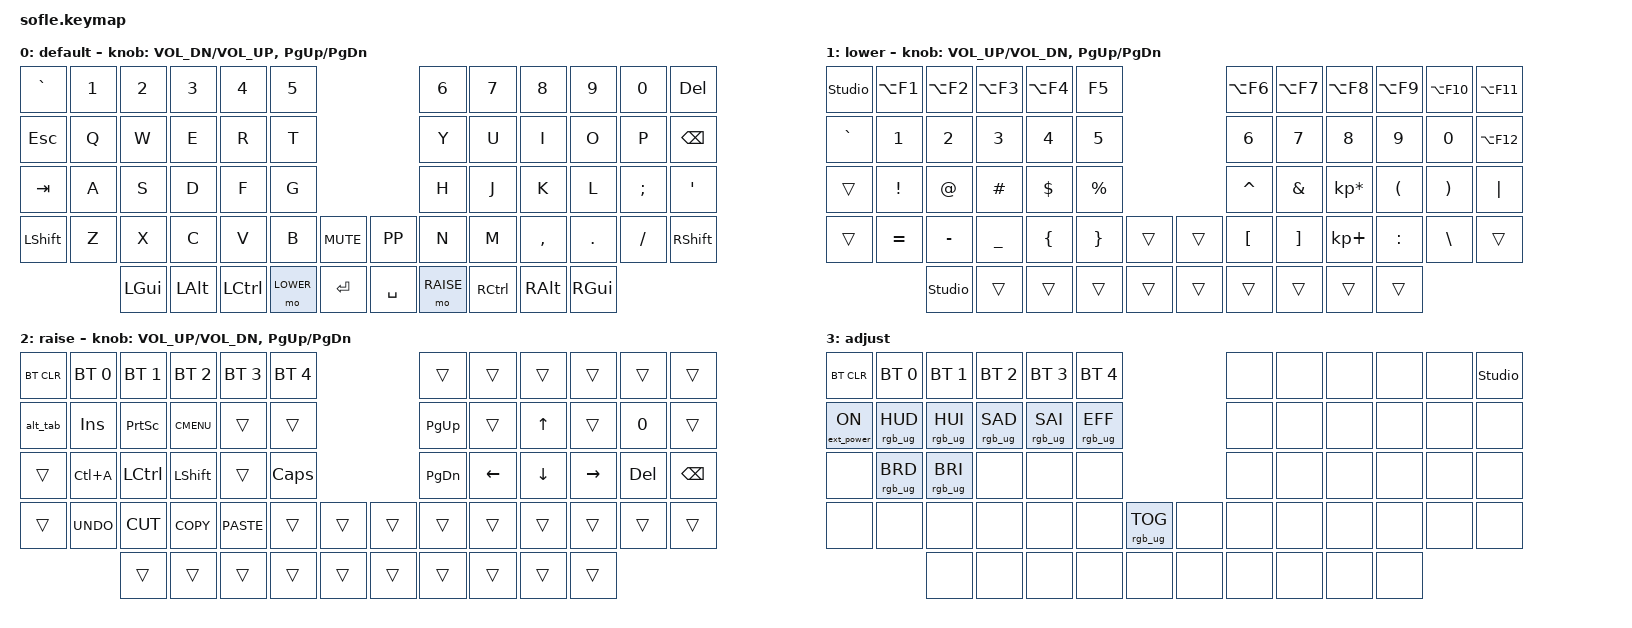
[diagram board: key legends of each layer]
/*
 * Copyright (c) 2020 The ZMK Contributors
 *
 * SPDX-License-Identifier: MIT
 */

#include <behaviors.dtsi>
#include <dt-bindings/zmk/bt.h>
#include <dt-bindings/zmk/ext_power.h>
#include <dt-bindings/zmk/keys.h>
#include <dt-bindings/zmk/rgb.h>

#define BASE 0
#define LOWER 1
#define RAISE 2
#define ADJUST 3

/ {
    // Activate ADJUST layer by pressing raise and lower

    conditional_layers {
        compatible = "zmk,conditional-layers";

        adjust_layer {
            if-layers = <LOWER RAISE>;
            then-layer = <ADJUST>;
        };
    };

    macros {
        alt_tab: alt_tab {
            compatible = "zmk,behavior-macro";
            #binding-cells = <0>;
            wait-ms = <40>;
            tap-ms = <40>;
            bindings = <&macro_press &kp LALT>, <&macro_tap &kp TAB>, <&macro_pause_for_release>, <&macro_release &kp LALT>;
        };
    };

    keymap {
        compatible = "zmk,keymap";

        default_layer {
            label = "default";

            // ------------------------------------------------------------------------------------------------------------
            // |   `   |  1  |  2  |  3   |  4   |  5   |                   |  6   |  7    |  8    |  9   |   0   |       |
            // |  ESC  |  Q  |  W  |  E   |  R   |  T   |                   |  Y   |  U    |  I    |  O   |   P   | BKSPC |
            // |  TAB  |  A  |  S  |  D   |  F   |  G   |                   |  H   |  J    |  K    |  L   |   ;   |   '   |
            // | SHIFT |  Z  |  X  |  C   |  V   |  B   |  MUTE  |  |       |  N   |  M    |  ,    |  .   |   /   | SHIFT |
            //               | GUI | ALT  | CTRL | LOWER|  ENTER |  | SPACE | RAISE| CTRL  | ALT   | GUI  |

            bindings = <
&kp GRAVE  &kp N1  &kp N2    &kp N3    &kp N4     &kp N5                              &kp N6     &kp N7     &kp N8     &kp N9    &kp N0    &kp DELETE
&kp ESC    &kp Q   &kp W     &kp E     &kp R      &kp T                               &kp Y      &kp U      &kp I      &kp O     &kp P     &kp BSPC
&kp TAB    &kp A   &kp S     &kp D     &kp F      &kp G                               &kp H      &kp J      &kp K      &kp L     &kp SEMI  &kp SQT
&kp LSHFT  &kp Z   &kp X     &kp C     &kp V      &kp B      &kp C_MUTE    &kp K_PP   &kp N      &kp M      &kp COMMA  &kp DOT   &kp FSLH  &kp RSHFT
                   &kp LGUI  &kp LALT  &kp LCTRL  &mo LOWER  &kp RET       &kp SPACE  &mo RAISE  &kp RCTRL  &kp RALT   &kp RGUI
            >;

            sensor-bindings = <&inc_dec_kp C_VOL_DN C_VOL_UP &inc_dec_kp PG_UP PG_DN>;
        };

        lower_layer {
            label = "lower";

            // TODO: Some binds are waiting for shifted keycode support.
            // ------------------------------------------------------------------------------------------------------------
            // |       |ALTF1|ALTF2|ALTF3 |ALTF4 |  F5  |                   |ALTF6 |ALTF7  |ALTF8  |ALTF9 |ALTF10 |ALTF11 |
            // |   `   |  1  |  2  |  3   |  4   |  5   |                   |  6   |  7    |  8    |  9   |   0   |ALTF12 |
            // |       |  !  |  @  |  #   |  $   |  %   |                   |  ^   |  &    |  *    |  (   |   )   |   |   |
            // |       |  =  |  -  |  _   |  {   |  }   |        |  |       |  [   |  ]    |  +    |  :   |   \   |       |
            //               |     |      |      |      |        |  |       |      |       |       |      |

            bindings = <
&studio_unlock     &kp LA(F1) &kp LA(F2) &kp LA(F3)   &kp LA(F4) &kp F5                       &kp LA(F6) &kp LA(F7) &kp LA(F8)      &kp LA(F9) &kp LA(F10) &kp LA(F11)
&kp GRAVE  &kp N1     &kp N2     &kp N3       &kp N4    &kp N5                       &kp N6     &kp N7    &kp N8           &kp N9     &kp N0    &kp LA(F12)
&trans     &kp EXCL   &kp AT     &kp HASH     &kp DLLR  &kp PRCNT                    &kp CARET  &kp AMPS  &kp KP_MULTIPLY  &kp LPAR   &kp RPAR  &kp PIPE
&trans     &kp EQUAL  &kp MINUS  &kp UNDER    &kp LBRC  &kp RBRC   &trans    &trans  &kp LBKT   &kp RBKT  &kp KP_PLUS      &kp COLON  &kp BSLH  &trans
                      &studio_unlock     &trans       &trans    &trans     &trans    &trans  &trans     &trans    &trans           &trans
            >;

            sensor-bindings = <&inc_dec_kp C_VOL_UP C_VOL_DN &inc_dec_kp PG_UP PG_DN>;
        };

        raise_layer {
            label = "raise";

            // ------------------------------------------------------------------------------------------------------------
            // | BTCLR | BT1  | BT2  |  BT3  |  BT4  |  BT5 |                |      |      |       |      |       |       |
            // |ALTTAB | INS  | PSCR | GUI   |       |      |                | PGUP |      |   ^   |      |       |       |
            // |       | SELA | CTRL | SHIFT |       | CAPS |                | PGDN |   <- |   v   |  ->  |  DEL  | BKSPC |
            // |       | UNDO | CUT  | COPY  | PASTE |      |      |  |      |      |      |       |      |       |       |
            //                |      |       |       |      |      |  |      |      |      |       |      |

            bindings = <
&bt BT_CLR  &bt BT_SEL 0  &bt BT_SEL 1  &bt BT_SEL 2  &bt BT_SEL 3  &bt BT_SEL 4                    &trans     &trans    &trans    &trans     &trans   &trans
&alt_tab    &kp INS       &kp PSCRN     &kp K_CMENU   &trans        &trans                          &kp PG_UP  &trans    &kp UP    &trans     &kp N0   &trans
&trans      &kp LC(A)     &kp LCTRL     &kp LSHFT     &trans        &kp CLCK                        &kp PG_DN  &kp LEFT  &kp DOWN  &kp RIGHT  &kp DEL  &kp BSPC
&trans      &kp K_UNDO    &kp K_CUT     &kp K_COPY    &kp K_PASTE   &trans        &trans    &trans  &trans     &trans    &trans    &trans     &trans   &trans
                          &trans        &trans        &trans        &trans        &trans    &trans  &trans     &trans    &trans    &trans
            >;

            sensor-bindings = <&inc_dec_kp C_VOL_UP C_VOL_DN &inc_dec_kp PG_UP PG_DN>;
        };

        adjust_layer {
            // -------------------------------------------------------------------------------------------------------------------------------------------
            // | BTCLR  |  BT1    |  BT2    |   BT3   |   BT4   |   BT5   |                  |      |      |       |      |       |    &studio_unlock    |
            // | EP_ON  | RGB_HUD | RGB_HUI | RGB_SAD | RGB_SAI | RGB_EFF |                  |      |      |       |      |       |                      |
            // |        | RGB_BRD | RGB_BRI |         |         |         |                  |      |      |       |      |       |                      |
            // |        |         |         |         |         |         | RGB_TOG | |      |      |      |       |      |       |                      |
            //                    |         |         |         |         |         | |      |      |      |       |      |       |                      |

            label = "adjust";
            bindings = <
&bt BT_CLR         &bt BT_SEL 0     &bt BT_SEL 1     &bt BT_SEL 2     &bt BT_SEL 3     &bt BT_SEL 4                               &none  &none  &none  &none  &none  &studio_unlock
&ext_power EP_ON   &rgb_ug RGB_HUD  &rgb_ug RGB_HUI  &rgb_ug RGB_SAD  &rgb_ug RGB_SAI  &rgb_ug RGB_EFF                            &none  &none  &none  &none  &none  &none
&none              &rgb_ug RGB_BRD  &rgb_ug RGB_BRI  &none            &none            &none                                      &none  &none  &none  &none  &none  &none
&none              &none            &none            &none            &none            &none            &rgb_ug RGB_TOG    &none  &none  &none  &none  &none  &none  &none
                                    &none            &none            &none            &none            &none              &none  &none  &none  &none  &none
            >;
        };
    };
};
